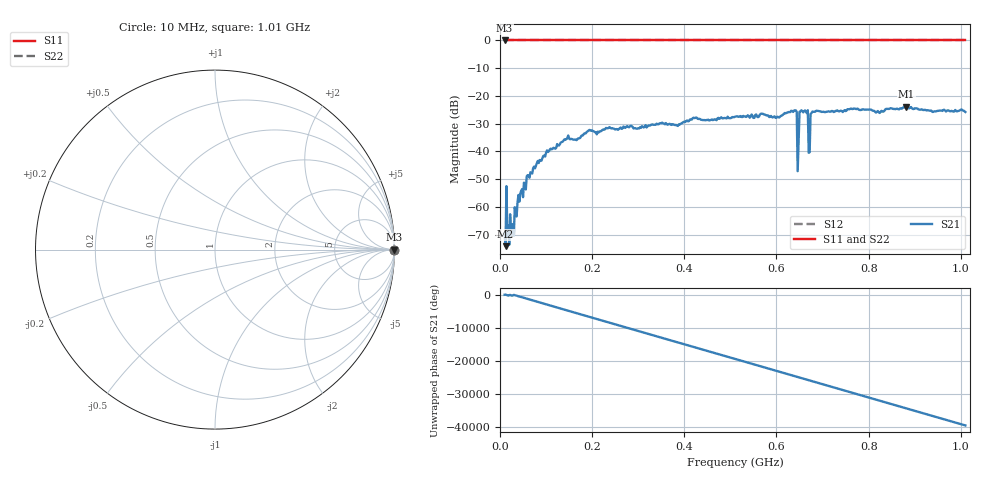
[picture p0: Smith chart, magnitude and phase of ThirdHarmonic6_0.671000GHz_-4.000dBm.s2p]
! 8/15/2025 10:19:49 PM
! C:\ANRITSUVNA\TEMP\TEMP.S2P
! CHANNEL.1
! TR.MEASUREMENT
! RAW.DATA
! RF.CORRECTION.OFF
! AVERAGING.OFF
! IF.BANDWIDTH: 5KHZ
! SWEEPTYPE:  FREQ.SWEEP(Linear)
! Reference Plane Port Info
! PORT:  PORT1  PORT2
! DISTANCE:  0  m  0  m
! TIME:  0  s  0  s
! PHASE.OFFSET:  0  deg.  0  deg.
! LOSS:  0  dB  0  dB
! REF.LOSS:  0  dB  0  dB
! REF.FREQ:  0  Hz  0  Hz
! Power Info
! POWER:  -20  dBm  -20  dBm
! EFF.POWER:  -20  dBm  -20  dBm
! SOURCE.ATTEN:  0  dB  0  dB
! TEST.ATTEN:  0  dB  0  dB
# GHZ S RI R 50.0
! FREQ.GHZ  S11RE  S11IM  S21RE  S21IM  S12RE  S12IM  S22RE  S22IM
!; PortSelection: Port_12
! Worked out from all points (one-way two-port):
!   501 points, 10 MHz to 1.01 GHz, reference 50 ohm
!   highest |S21| = -23.88 dB at 882 MHz (marker M1); lowest = -74.1 dB at 12 MHz (marker M2)
!   lowest |S11| = 0.0 dB at 10 MHz (marker M3)
!   |S11| at or under -10 dB: nowhere
!   |S22| runs from 0.0 to 0.0 dB; largest |S21 - S12| = 1.1
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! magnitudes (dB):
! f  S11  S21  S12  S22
! 10 MHz  0.0  -69.6  0.0  0.0
! 12 MHz  0.0  -74.1  0.0  0.0
! 18 MHz  0.0  -66.6  0.0  0.0
! 28 MHz  0.0  -68.6  0.0  0.0
! 44 MHz  0.0  -55.2  0.0  0.0
! 82 MHz  0.0  -43.4  0.0  0.0
! 144 MHz  0.0  -35.5  0.0  0.0
! 178 MHz  0.0  -34.2  0.0  0.0
! 344 MHz  0.0  -30.2  0.0  0.0
! 510 MHz  0.0  -27.5  0.0  0.0
! 640 MHz  0.0  -25.2  0.0  0.0
! 644 MHz  0.0  -25.7  0.0  0.0
! 648 MHz  0.0  -36.6  0.0  0.0
! 650 MHz  0.0  -25.7  0.0  0.0
! 654 MHz  0.0  -25.2  0.0  0.0
! 664 MHz  0.0  -25.6  0.0  0.0
! 668 MHz  0.0  -25.2  0.0  0.0
! 674 MHz  0.0  -26.5  0.0  0.0
! 678 MHz  0.0  -25.6  0.0  0.0
! 844 MHz  0.0  -24.7  0.0  0.0
! 882 MHz  0.0  -23.9  0.0  0.0
! 1.01 GHz  0.0  -25.8  0.0  0.0
